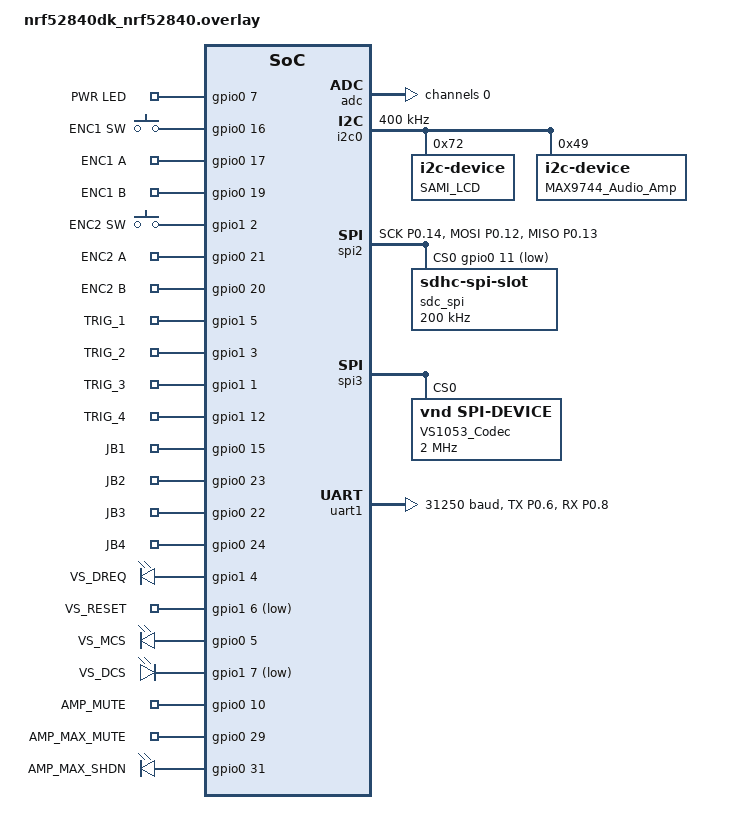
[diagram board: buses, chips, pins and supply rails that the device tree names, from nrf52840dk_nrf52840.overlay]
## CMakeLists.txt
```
#
# Copyright (c) 2021 Nordic Semiconductor ASA
#
# SPDX-License-Identifier: LicenseRef-Nordic-5-Clause
#
cmake_minimum_required(VERSION 3.20.0)
find_package(Zephyr REQUIRED HINTS $ENV{ZEPHYR_BASE})
project(central_and_peripheral_hr)

# NORDIC SDK APP START
target_sources(app PRIVATE
  src/main.c
  src/ui_thread.c
)

# INCLUDE DIRECTORIES
target_include_directories(app PRIVATE ${ZEPHYR_BASE}/subsys/fs)
target_include_directories(app PRIVATE ${ZEPHYR_BASE}/zephyr/subsys/fs)
target_include_directories(app PRIVATE ${ZEPHYR_BASE}/../modules/fs/fatfs)
target_include_directories(app PRIVATE ${CMAKE_CURRENT_SOURCE_DIR}/hw_interface)

# APP SPECIFIC DIRECTORIES
add_subdirectory(src/hw_interface)
add_subdirectory(src/hw_interface/ble_interface)
add_subdirectory(src/hw_interface/VS1053_interface)
add_subdirectory(src/hw_interface/sd_card_interface)
add_subdirectory(src/hw_interface/inputs_interface)

# NORDIC SDK APP END
```

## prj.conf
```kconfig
#
# Copyright (c) 2021 Nordic Semiconductor ASA
#
# SPDX-License-Identifier: LicenseRef-Nordic-5-Clause
#

CONFIG_NCS_SAMPLES_DEFAULTS=n

CONFIG_BT=y
CONFIG_BT_PERIPHERAL=y
CONFIG_BT_CENTRAL=y
CONFIG_BT_DEVICE_NAME="Nordic_HR"
CONFIG_BT_DEVICE_APPEARANCE=832
CONFIG_BT_MAX_CONN=2
CONFIG_BT_MAX_PAIRED=2
CONFIG_BT_EXT_ADV=y

CONFIG_BT_SMP=y

CONFIG_BT_SCAN=y
CONFIG_BT_SCAN_FILTER_ENABLE=y
CONFIG_BT_SCAN_UUID_CNT=1

CONFIG_BT_GATT_CLIENT=y
CONFIG_BT_GATT_DM=y

CONFIG_BT_HRS=y
CONFIG_BT_HRS_CLIENT=y

CONFIG_BT_SETTINGS=y
CONFIG_FLASH=y
CONFIG_FLASH_PAGE_LAYOUT=y
CONFIG_FLASH_MAP=y
CONFIG_NVS=y
CONFIG_SETTINGS=y

CONFIG_HEAP_MEM_POOL_SIZE=1024

CONFIG_DK_LIBRARY=y

CONFIG_I2C=y
CONFIG_SPI=y
CONFIG_GPIO=y
CONFIG_ADC=y

# Logging Configuration - FIXED
CONFIG_LOG=y
CONFIG_LOG_DEFAULT_LEVEL=3
CONFIG_LOG_MAX_LEVEL=4
CONFIG_LOG_MODE_MINIMAL=n

# RTT Logging
CONFIG_USE_SEGGER_RTT=y
CONFIG_LOG_BACKEND_RTT=y
CONFIG_LOG_BACKEND_UART=n

# Console
CONFIG_SERIAL=y
CONFIG_CONSOLE=y

# TFM Configuration
CONFIG_TFM_SECURE_UART=n
CONFIG_TFM_LOG_LEVEL_SILENCE=y

# File System
CONFIG_FILE_SYSTEM=y
CONFIG_FAT_FILESYSTEM_ELM=y
CONFIG_DISK_ACCESS=y
CONFIG_DISK_DRIVERS=y
CONFIG_SDHC=y
CONFIG_SDMMC_STACK=y

# New additions for FATFS
CONFIG_MAIN_STACK_SIZE=8192
CONFIG_SYSTEM_WORKQUEUE_STACK_SIZE=4096

#Can re-add these back in - I removed just to try
#CONFIG_DISK_DRIVER_SDMMC=y
#CONFIG_DISK_DRIVER_FLASH=y
#CONFIG_MMC_STACK=y
#CONFIG_SDHC=y
#CONFIG_DISK_DRIVERS=y
```

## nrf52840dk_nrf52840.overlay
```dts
// To get started, press Ctrl+Space to bring up the completion menu and view the available nodes.

// You can also use the buttons in the sidebar to perform actions on nodes.
// Actions currently available include:

// * Enabling / disabling the node
// * Adding the bus to a bus
// * Removing the node
// * Connecting ADC channels

// For more help, browse the DeviceTree documentation at https://docs.zephyrproject.org/latest/guides/dts/index.html
// You can also visit the nRF DeviceTree extension documentation at https://docs.nordicsemi.com/bundle/nrf-connect-vscode/page/guides/ncs_configure_app.html#devicetree-support-in-the-extension

/*
*
	TODO:	-Make sure each of the SAMI pins that needs to be initialized in this file is done then update this list
				- VS1053 Codec			done
				- SD Card slot			done
				- LCD					done
				- Volume pot.			incomplete
				- Audio amp.			done
				- Encoder/switch jacks	done
				- Bat. monitoring/LED	incomplete
				- Crystal pins			incomplete
			
			-Once all pins are initialized, check to see if that peripheral is operational
				this has not been done for any yet.
*
	SAMI Total pins = 46 (excluding +3V3, GND, unconnected/without-number/programming pins)

	//VS1053 Codec pins (8 pins)
	VS_SPI_MISO-gpios = <&gpio1 14 GPIO_ACTIVE_LOW>;
	VS_SPI_MOSI-gpios = <&gpio1 13 GPIO_ACTIVE_LOW>;
	VS_SPI_SCK-gpios = <&gpio1 15 0>;
	VS_SPI_DCS-gpios = <&gpio1 7 GPIO_ACTIVE_LOW>;
	VS_SPI_DREQ-gpios = <&gpio1 4 GPIO_ACTIVE_HIGH>;
	VS_SPI_xRESET-gpios = <&gpio1 6 GPIO_ACTIVE_LOW>;
	VS_SPI_MCS-gpios = <&gpio0 5 0>;
	VS_RX-gpios = <&gpio0 6 0>;

	//SD card slot pins (4 pins)
	SDC_SPI_SCK-gpios = <&gpio0 14 0>;
	SDC_SPI_MOSI-gpios = <&gpio 12 0>;
	SDC_SPI_MISO-gpios = <&gpio0 13 0>;
	SDC_SPI_MCS-gpios = <&gpio0 11 0>;

	//LCD I2C pins (2 pins)
	SCL-gpios = <&gpio0 27 0>;
	SDA-gpios = <&gpio0 26 0>;

	//Volume potentiometer input pin (1 pin)
	V_CTRL-gpios = <&gpio0 4 0>;

	//Audio amp pins (3 pins) - Now handled via I2C, but GPIO pins available for MUTE/SHDN if needed
	MUTE-gpios = <&gpio0 10 0>;
	MAX_MUTE-gpios = <&gpio0 29 0>;
	MAX_SHDN-gpios = <&gpio0 31 0>;

	//Encoder and switch jack pins (14 pins)
	ENC1SW_DB-gpios = <&gpio0 16 0>;
	ENC1A-gpios = <&gpio0 17 0>;
	ENC1B-gpios = <&gpio0 19 0>;
	ENC2SW_DB-gpios = <&gpio1 2 0>;
	ENC2A-gpios = <&gpio0 21 0>;
	ENC2B-gpios = <&gpio0 20 0>;
	TRIG_1-gpios = <&gpio1 5 0>;
	TRIG_2-gpios = <&gpio1 3 0>;
	TRIG_3-gpios = <&gpio1 1 0>;
	TRIG_4-gpios = <&gpio1 12 0>;
	JB1_DB-gpios = <&gpio0 15 0>;
	JB2_DB-gpios = <&gpio0 23 0>;
	JB3_DB-gpios = <&gpio0 22 0>;
	JB4_DB-gpios = <&gpio0 24 0>;

	//Battery monitoring and indication LED pins (2 pin)
	BAT_SOC-gpios = <&gpio0 3 0>;
	PWR_LED-gpios = <&gpio0 7 0>;

	//Crystal pins (2 pins)
	XL1-gpios = <&gpio0 0 0>;
	XL2-gpios = <&gpio0 1 0>;

	//Not used in SAMI (10 pins)
	AIN4-gpios = <&gpio0 28 0>;
	AIN6-gpios = <&gpio0 30 0>;
	B1LED_AIN0-gpios = <&gpio0 2 0>;
	B2LED-gpios = <&gpio1 10 0>;
	B3LED-gpios = <&gpio0 25 0>;
	B4LED-gpios = <&gpio1 8 0>;
	RECLED-gpios = <&gpio1 11 0>;
	MODE_SW_DB-gpios = <&gpio0 9 0>;
	R_LED_DOME-gpios = <&gpio0 8 0>;
	G_LED_DOME-gpios = <&gpio1 9 0>;
	
*/


/*
*
	TODO:	-Check if this parent node is required
*
*/
/{
		zephyr,user {

		};
};

&adc {
	status = "okay";
	#address-cells = <1>;
	#size-cells = <0>;

	channel@0 {
		reg = <0>;
		zephyr,gain = "ADC_GAIN_1_6";
		zephyr,reference = "ADC_REF_INTERNAL";
		zephyr,acquisition-time = <ADC_ACQ_TIME_DEFAULT>;
		zephyr,input-positive = <NRF_SAADC_AIN1>; //gpio0 3 (P0.03)
		zephyr,resolution = <12>;
	};
};

/*
*
*	TODO:	- Add any debounce and set polling mode for any gpio node if required
*	
*/
//Create gpioPins parent node (layout copied from joystick2 code)
/{
	gpioPins {
		compatible = "gpio-keys";
		
		//PWR LED pin
		PWR_LED: PWR_LED {
			gpios = <&gpio0 7 0>;
			label = "PWR LED";
		};
		//Encoder pins
		ENC1SW_DB: ENC1SW_DB {
			gpios = <&gpio0 16 0>;
			label = "ENC1 SW";
		};
		ENC1A: ENC1A {
			gpios = <&gpio0 17 0>;
			label = "ENC1 A";
		};
		ENC1B: ENC1B {
			gpios = <&gpio0 19 0>;
			label = "ENC1 B";
		};
		ENC2SW_DB: ENC2SW_DB {
			gpios = <&gpio1 2 0>;
			label = "ENC2 SW";
		};
		ENC2A: ENC2A {
			gpios = <&gpio0 21 0>;
			label = "ENC2 A";
		};
		ENC2B: ENC2B {
			gpios = <&gpio0 20 0>;
			label = "ENC2 B";
		};
		
		//Switch jacks
		TRIG_1: TRIG_1 {
			gpios = <&gpio1 5 0>;
			label = "TRIG_1";
		};
		TRIG_2: TRIG_2 {
			gpios = <&gpio1 3 0>;
			label = "TRIG_2";
		};
		TRIG_3: TRIG_3 {
			gpios = <&gpio1 1 0>;
			label = "TRIG_3";
		};
		TRIG_4: TRIG_4 {
			gpios = <&gpio1 12 0>;
			label = "TRIG_4";
		};
		JB1_DB: JB1_DB {
			gpios = <&gpio0 15 0>;
			label = "JB1";
		};
		JB2_DB: JB2_DB {
			gpios = <&gpio0 23 0>;
			label = "JB2";
		};
		JB3_DB: JB3_DB {
			gpios = <&gpio0 22 0>;
			label = "JB3";
		};
		JB4_DB: JB4_DB {
			gpios = <&gpio0 24 0>;
			label = "JB4";
		};

	};
};

//Add LCD and Audio Amplifier to i2c0
&i2c0 {

    status = "okay";
	clock-frequency = <400000>;

    lcd: lcd@72{
        compatible = "i2c-device";
        reg = <0x72>;
        label = "SAMI_LCD";
    };

    audio_amp: audio_amp@49{
        compatible = "i2c-device";
        reg = <0x49>;
        label = "MAX9744_Audio_Amp";
    };

};

//Create custom pinouts for spi2
&pinctrl {
	spi2_custom_default: spi2_custom_default {
		group1 {
			psels = <NRF_PSEL(SPIM_SCK, 0, 14)>,
				<NRF_PSEL(SPIM_MOSI, 0, 12)>,
				<NRF_PSEL(SPIM_MISO, 0, 13)>;
		};
	};

	spi2_custom_sleep: spi2_custom_sleep {
		group1 {
			psels = <NRF_PSEL(SPIM_SCK, 0, 14)>,
				<NRF_PSEL(SPIM_MOSI, 0, 12)>,
				<NRF_PSEL(SPIM_MISO, 0, 13)>;
			low-power-enable;
		};
	};
};

/*
* 
	TODO: 	- Add SDC_SPI_MCS (&gpio0 11 0) to this spi node *IF NEEDED*
			- Ensure this SPI controller uses CS line 0, or else you have to change the "reg = <0>" value and the "@0"
*
*/
//Add SD card slot to spi2
/*&spi2 {
	status = "okay";
	pinctrl-0 = <&spi2_custom_default>;
	pinctrl-1 = <&spi2_custom_sleep>;
	pinctrl-names = "default", "sleep";

	sdc_spi: sdc_spi@0 {
		//
		//	TODO:	- Check "compatible" here
		//
		//compatible = "zephyr,spi-sd_card";
		compatible = "spi-device";
		reg = <0>;
		spi-max-frequency = <2000000>;
		label = "SD Card slot";
		cs-gpios = <&gpio0 11 0>; //only used in spi-device compatible
	};

};*/

&spi2 {
	compatible = "nordic,nrf-spim";
	status = "okay";
	cs-gpios = <&gpio0 11 GPIO_ACTIVE_LOW>;
	pinctrl-0 = <&spi2_custom_default>;
	pinctrl-1 = <&spi2_custom_sleep>;
	pinctrl-names = "default", "sleep";

	sdc_spi: sdc_spi@0 {
		//
		//	TODO:	- Check "compatible" here
		//
		//compatible = "zephyr,spi-sd_card";
		//compatible = "spi-device";
		compatible = "zephyr,sdhc-spi-slot";
		reg = <0>;
		spi-max-frequency = <200000>; //Lowered from 2000000
		//label = "SD Card slot";
		sdmmc: mmc {
			compatible = "zephyr,sdmmc-disk";
			status = "okay";
		};
	};

};

/*
*
	TODO: 	- Add VS_SPI_DREQ, VS_SPI_xRESET, VS_SPI_MCS, VS_RX pins to this spi node *IF NEEDED*
			- Ensure this SPI controller uses CS line 0, or else you have to change the "reg = <0>" value and the "@0"
*
*/
//Add VS1053 Codec to spi3
&spi3 {
	status = "okay";
	pinctrl-0 = <&spi3_default>; // spi3 is MISO (1, 14), MOSI (1, 13) and SCK (1, 15)
	pinctrl-1 = <&spi3_sleep>;
	pinctrl-names = "default", "sleep";

	vs1053_spi: vs1053_spi@0 {
		compatible = "vnd,spi-device"; // generic spi device
		reg = <0>;
		spi-max-frequency = <2000000>;
		label = "VS1053_Codec";
	};

};

// VS1053 GPIOS
// for handling chip select and reset pins manually

/ {
	vs_gpios {
		compatible = "gpio-leds";

		vs_dreq: vs_dreq_pin {
			gpios = <&gpio1 4 GPIO_ACTIVE_HIGH>;
			label = "VS_DREQ";
		};

		vs_reset: vs_reset_pin {
			gpios = <&gpio1 6 GPIO_ACTIVE_LOW>;
			label = "VS_RESET";
		};

		vs_mcs: vs_mcs_pin {
			gpios = <&gpio0 5 GPIO_ACTIVE_HIGH>;
			label = "VS_MCS";
		};

		vs_dcs: vs_dcs_pin {
			gpios = <&gpio1 7 GPIO_ACTIVE_LOW>;
			label = "VS_DCS";
		};
	};
};

// Audio Amplifier GPIO control pins (optional)
/ {
	audio_amp_gpios {
		compatible = "gpio-leds";

		amp_mute: amp_mute_pin {
			gpios = <&gpio0 10 GPIO_ACTIVE_HIGH>;
			label = "AMP_MUTE";
		};

		amp_max_mute: amp_max_mute_pin {
			gpios = <&gpio0 29 GPIO_ACTIVE_HIGH>;
			label = "AMP_MAX_MUTE";
		};

		amp_max_shdn: amp_max_shdn_pin {
			gpios = <&gpio0 31 GPIO_ACTIVE_HIGH>;
			label = "AMP_MAX_SHDN";
		};
	};
};

&uart1{
	status = "okay";
	current-speed = <31250>;
	pinctrl-0 = <&uart0_custom_default>;
    pinctrl-1 = <&uart0_custom_sleep>;
	pinctrl-names = "default", "sleep";

};

/ {
	aliases {
    //Aliases for codec
    vsdreq = &vs_dreq;
    vsreset = &vs_reset;
		vsmcs = &vs_mcs;
		vsdcs = &vs_dcs;
    
    //Aliases for audio amp
		ampmute = &amp_mute;
		ampmaxmute = &amp_max_mute;
		ampmaxshdn = &amp_max_shdn;
    
    //Aliases for Battery and Power LED
		batsoc = &adc;
		pwrled = &PWR_LED;
    
		//Aliases for encoders - same as node labels
		enc1sw = &ENC1SW_DB;
		enc2sw = &ENC2SW_DB;
		enc1a = &ENC1A;
		enc2a = &ENC2A;
		enc1b = &ENC1B;
		enc2b = &ENC2B;
    
		//Aliases for buttons - same as node labels
		trig1 = &TRIG_1;
		trig2 = &TRIG_2;
		trig3 = &TRIG_3;
		trig4 = &TRIG_4;
		jb1 = &JB1_DB;
		jb2 = &JB2_DB;
		jb3 = &JB3_DB;
		jb4 = &JB4_DB;
    
		//Aliases for SD Card
		sdcardspi = &sdc_spi;
		sdcarddisk = &sdmmc;
    };
};

&pinctrl {
    // Custom UART0 configuration - TX and RX only, no RTS/CTS
    uart0_custom_default: uart0_custom_default {
        group1 {
            psels = <NRF_PSEL(UART_TX, 0, 6)>;  // P0.06 - TX only
        };
        group2 {
            psels = <NRF_PSEL(UART_RX, 0, 8)>;  // P0.08 - RX only
            bias-pull-up;
        };
    };

    uart0_custom_sleep: uart0_custom_sleep {
        group1 {
            psels = <NRF_PSEL(UART_TX, 0, 6)>;
            low-power-enable;
        };
        group2 {
            psels = <NRF_PSEL(UART_RX, 0, 8)>;
            bias-pull-up;
            low-power-enable;
        };
    };
};

//Disable all unused dev. kit nodes
&uart0{
	status = "disabled";
};

&button0 {
	status = "disabled";
};
&button1 {
	status = "disabled";
};
&button2 {
	status = "disabled";
};
&button3 {
	status = "disabled";
};
&led0 {
	status = "disabled";
};
&led1 {
	status = "disabled";
};
&led2 {
	status = "disabled";
};
&led3 {
	status = "disabled";
};
&uart0 {
	status = "disabled";
};
&qspi {
	status = "disabled";
};
&pwm0 {
	status = "disabled";
};

&spi1{
	status = "disabled";
};
```

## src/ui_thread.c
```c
/*
 * Copyright (c) 2021 Nordic Semiconductor ASA
 *
 * SPDX-License-Identifier: LicenseRef-Nordic-5-Clause
 */
// ui_thread.c - Updated to use the new GPIO interface
#include <zephyr/kernel.h>
#include <zephyr/bluetooth/bluetooth.h>
#include <zephyr/bluetooth/conn.h>
#include <zephyr/bluetooth/uuid.h>
#include <zephyr/bluetooth/gatt.h>
#include <bluetooth/gatt_dm.h>
#include <bluetooth/scan.h>
#include <bluetooth/services/hrs_client.h>
#include <zephyr/bluetooth/services/bas.h>
#include <zephyr/bluetooth/services/hrs.h>

#include "hw_interface/ble_interface/ble_interface.h"
#include "hw_interface/sd_card_interface/sd_card_interface.h"
#include "hw_interface/VS1053_interface/VS1053_interface.h"
#include "hw_interface/VS1053_interface/midi.h"
#include "hw_interface/spi_interface.h"
#include "hw_interface/i2c_interface.h"
#include "hw_interface/uart_interface.h"
#include "hw_interface/inputs_interface/gpio_interface.h"  // Use the new GPIO interface

#include "state_machine_defs.h"

#include <dk_buttons_and_leds.h>
#include <zephyr/settings/settings.h>
#include <zephyr/sys/printk.h>
#include <zephyr/logging/log.h>

#define MODULE ui_thread
LOG_MODULE_REGISTER(MODULE, LOG_LEVEL_DBG);

uint8_t VS1053_Instrument[] = {     0, //OFFSET
                                    1, //ACOUSTIC_GRAND_PIANO
                                    2, //ELECTRIC_GRAND_PIANO
                                    3, //ACOUSTIC_GUITAR
                                    4, //ELECTRIC_GUITAR
                                    5, //XYLOPHONE
                                    6, //ELECTRIC_BASS
                                    7, //BAG_PIPE
                                    8, //WOOD_BLOCK
                                    9, //ALTO_SAXAPHONE
                                    10, //TRUMPET
                                    11, //FLUTE
                                    12, //TROMBONE
                                    13, //VIOLIN
                                };

// FSM structure (same as your original)
fsm_struct fsm = {
    .input_mode = PLAYMODE_SINGLE_BTN,
    .playback_state = PLAYBACK_STOP,
    .settings_menu = {
        .music_settings = MUSIC_IDLE,
        .operation_settings = OPERATION_IDLE,
    },
    .play_mode = {
        .single_btn_play_mode = PLAYBACK_SINGLE_MOMENTARY,
        .multi_btn_play_mode = PLAYBACK_MULTI_NOTE,
        .ble_play_mode = PLAYBACK_BLE_0,
    },
    .instrument = 0,
    .tempo = 120,
    .octave = 3,
    .current_track = 1,
    .previous_track = 1,
    .track_name = "1_TRACK.mid",
    .pause = false,
    .first_track_entry = false,
    .arp_entry = false,
    .screen_blackout_entry = false,
    .draw_ui_entry = false,
    .btn = {false, false, false, false, false, false, false, false},
    .encbtn = {false, false},
    .btn_change = {false, false, false, false, false, false, false, false},
    .notes = {60, 64, 67, 72},
    .low_bat_led = 0,
};

// Function to draw all LCD information (same as original)
void draw_all_UI(void)
{
    k_busy_wait(50);
    i2c_lcd_draw_input(fsm.input_mode);

    k_busy_wait(50);
    i2c_lcd_draw_playback(fsm.input_mode, fsm.play_mode);

    k_busy_wait(50);
    i2c_lcd_draw_track(fsm.current_track);

    k_busy_wait(50);
    i2c_lcd_draw_instrument(fsm.instrument);

    k_busy_wait(50);
    i2c_lcd_draw_tempo(fsm.tempo);

    k_busy_wait(50);
}

// Updated interrupt handler using the new GPIO interface
void input_interrupt_handler(const struct device *port, struct gpio_callback *cb, uint32_t pins)
{
    // Get GPIO specs using the interface functions
    const struct gpio_dt_spec* enc1sw = get_enc1sw_gpio();
    const struct gpio_dt_spec* enc2sw = get_enc2sw_gpio();
    const struct gpio_dt_spec* btn1 = get_btn1_gpio();
    const struct gpio_dt_spec* btn2 = get_btn2_gpio();
    const struct gpio_dt_spec* btn3 = get_btn3_gpio();
    const struct gpio_dt_spec* btn4 = get_btn4_gpio();
    const struct gpio_dt_spec* btn5 = get_btn5_gpio();
    const struct gpio_dt_spec* btn6 = get_btn6_gpio();

    // Encoder 1 triggered interrupt
    if ((pins & BIT(enc1sw->pin)) && port == enc1sw->port) {
        if (fsm.encbtn[0] == false) {
            fsm.encbtn[0] = true;
            
            // Reset song when encoder pressed
            fsm.playback_state = PLAYBACK_STOP;
            fsm.first_track_entry = false;
            fsm.pause = false;
            
            // So long as other encoder (2) isn't being pressed
            if (fsm.settings_menu.operation_settings == OPERATION_IDLE) {
                fsm.settings_menu.music_settings++;
                // Handle setting wrapping
                if(fsm.settings_menu.music_settings == NUM_SETTINGS) {
                    fsm.settings_menu.music_settings = MUSIC_IDLE;
                }
            }

            if (fsm.settings_menu.music_settings != MUSIC_IDLE && fsm.settings_menu.operation_settings == OPERATION_IDLE) {
                LOG_INF("ENC1 - Screen blackout");
                fsm.screen_blackout_entry = true;
                fsm.draw_ui_entry = false;
            } else if (fsm.settings_menu.music_settings == MUSIC_IDLE && fsm.settings_menu.operation_settings == OPERATION_IDLE) {
                LOG_INF("ENC1 - Draw all UI");
                fsm.screen_blackout_entry = false;
                fsm.draw_ui_entry = true;
            }

            LOG_INF("SET1");
        } else {
            fsm.encbtn[0] = false;
            LOG_INF("EXIT1");
        }
    }

    // Encoder 2 triggered interrupt
    else if ((pins & BIT(enc2sw->pin)) && port == enc2sw->port) {
        if (fsm.encbtn[1] == false) {
            fsm.encbtn[1] = true;

            // Reset song when encoder pressed
            fsm.playback_state = PLAYBACK_STOP;
            fsm.first_track_entry = false;
            fsm.pause = false;

            // So long as other encoder(1) isn't being pressed
            if (fsm.settings_menu.music_settings == MUSIC_IDLE) {
                fsm.settings_menu.operation_settings++;
                // Handle wrapping
                if (fsm.settings_menu.operation_settings == NUM_OPERATIONS) {
                    fsm.settings_menu.operation_settings = OPERATION_IDLE;
                }
            }

            if (fsm.settings_menu.operation_settings != OPERATION_IDLE && fsm.settings_menu.music_settings == MUSIC_IDLE) {
                LOG_INF("ENC2 - Screen blackout");
                fsm.screen_blackout_entry = true;
                fsm.draw_ui_entry = false;
            } else if (fsm.settings_menu.operation_settings == OPERATION_IDLE && fsm.settings_menu.music_settings == MUSIC_IDLE) {
                LOG_INF("ENC2 - Draw all UI");
                fsm.screen_blackout_entry = false;
                fsm.draw_ui_entry = true;
            }

            LOG_INF("SET2");
        } else {
            fsm.encbtn[1] = false;
            LOG_INF("EXIT2");
        }
    }

    // Button interrupts - using the new interface
    else if ((pins & BIT(btn1->pin)) && port == btn1->port) {
        fsm.btn_change[0] = true;
        fsm.btn[0] = !fsm.btn[0];
        LOG_INF("BTN1 = %d", fsm.btn[0]);
    }
    else if ((pins & BIT(btn2->pin)) && port == btn2->port) {
        fsm.btn_change[1] = true;
        fsm.btn[1] = !fsm.btn[1];
        LOG_INF("BTN2 = %d", fsm.btn[1]);
    }
    else if ((pins & BIT(btn3->pin)) && port == btn3->port) {
        fsm.btn_change[2] = true;
        fsm.btn[2] = !fsm.btn[2];
        LOG_INF("BTN3 = %d", fsm.btn[2]);
    }
    else if ((pins & BIT(btn4->pin)) && port == btn4->port) {
        fsm.btn_change[3] = true;
        fsm.btn[3] = !fsm.btn[3];
        LOG_INF("BTN4 = %d", fsm.btn[3]);
    }
    else if ((pins & BIT(btn5->pin)) && port == btn5->port) {
        fsm.btn_change[4] = true;
        fsm.btn[4] = !fsm.btn[4];
        LOG_INF("BTN5 = %d", fsm.btn[4]);
    }
    else if ((pins & BIT(btn6->pin)) && port == btn6->port) {
        fsm.btn_change[5] = true;
        fsm.btn[5] = !fsm.btn[5];
        LOG_INF("BTN6 = %d", fsm.btn[5]);
    }
}

// Function to handle LCD clearing and drawing when encoders are pressed
void UI_Handler(fsm_struct* fsm)
{
    if (fsm->screen_blackout_entry) {
        i2c_lcd_clear();
        fsm->screen_blackout_entry = false;
    } else if (fsm->draw_ui_entry) {
        // TODO - Patrick: Replace this with function to write settings to SD - not written yet
        // write_to_sd(fsm);
        draw_all_UI();
        fsm->draw_ui_entry = false;
    }
}

// Updated GPIO initialization function using the new interface
int GPIO_Init_UI_Thread(void)
{
    int err_code = 0;
    
    LOG_INF("Initializing GPIO interface for UI thread");
    
    // Initialize the GPIO interface
    err_code = GPIO_Init();
    if (err_code != 0) {
        LOG_ERR("Failed to initialize GPIO interface: %d", err_code);
        return err_code;
    }
    
    // The interrupt callbacks are already set up in GPIO_Init(),
    // but we can override the handler if needed
    
    LOG_INF("GPIO interface initialized successfully for UI thread");
    return 0;
}
```
